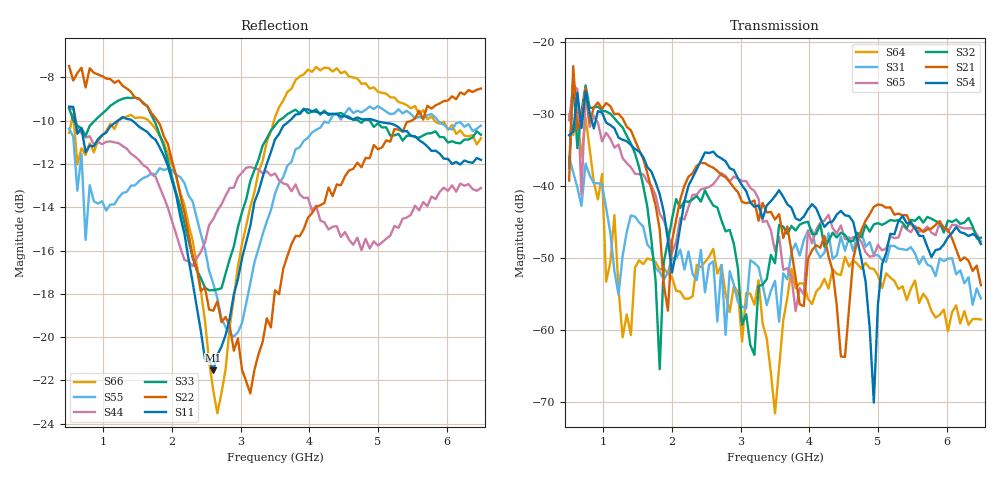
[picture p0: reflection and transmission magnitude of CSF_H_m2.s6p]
!Keysight Technologies,M9804A,MY58100912,A.14.10.03
!Date: Thursday, April 27, 2023 10:28:33
!Correction: S11(C  6-Port  )
!S12(C  6-Port  )
!S13(C  6-Port  )
!S14(C  6-Port  )
!S15(C  6-Port  )
!S16(C  6-Port  )
!S21(C  6-Port  )
!S22(C  6-Port  )
!S23(C  6-Port  )
!S24(C  6-Port  )
!S25(C  6-Port  )
!S26(C  6-Port  )
!S31(C  6-Port  )
!S32(C  6-Port  )
!S33(C  6-Port  )
!S34(C  6-Port  )
!S35(C  6-Port  )
!S36(C  6-Port  )
!S41(C  6-Port  )
!S42(C  6-Port  )
!S43(C  6-Port  )
!S44(C  6-Port  )
!S45(C  6-Port  )
!S46(C  6-Port  )
!S51(C  6-Port  )
!S52(C  6-Port  )
!S53(C  6-Port  )
!S54(C  6-Port  )
!S55(C  6-Port  )
!S56(C  6-Port  )
!S61(C  6-Port  )
!S62(C  6-Port  )
!S63(C  6-Port  )
!S64(C  6-Port  )
!S65(C  6-Port  )
!S66(C  6-Port  )
!S6P File: Measurement: :
# Hz S  RI  R 50
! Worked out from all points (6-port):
!   101 points, 500 MHz to 6.5 GHz, reference 50 ohm
!   strongest paths, dB at 500 MHz, 2 GHz, 3.5 GHz, 5 GHz, 6.5 GHz:
!     S54: -33.0, -52.1, -41.4, -56.5, -48.1
!     S21: -39.3, -47.7, -44.7, -42.6, -53.8
!     S32: -37.5, -44.6, -50.8, -45.2, -47.2
!     S65: -30.9, -49.3, -49.1, -48.2, -47.7
!     S31: -36.0, -50.0, -53.2, -49.6, -55.7
!     S64: -30.1, -52.7, -71.6, -52.4, -58.6
!   lowest |S11| = -21.5 dB at 2.6 GHz (marker M1), VSWR 1.18, Z = 42.5 + j2.07 ohm
!   |S11| at or under -10 dB: 590.9 MHz to 1.209 GHz (618.3 MHz wide, 68.7 % of centre); 1.421 GHz to 3.714 GHz (2.293 GHz wide, 89.3 % of centre); 4.968 GHz to end of sweep
